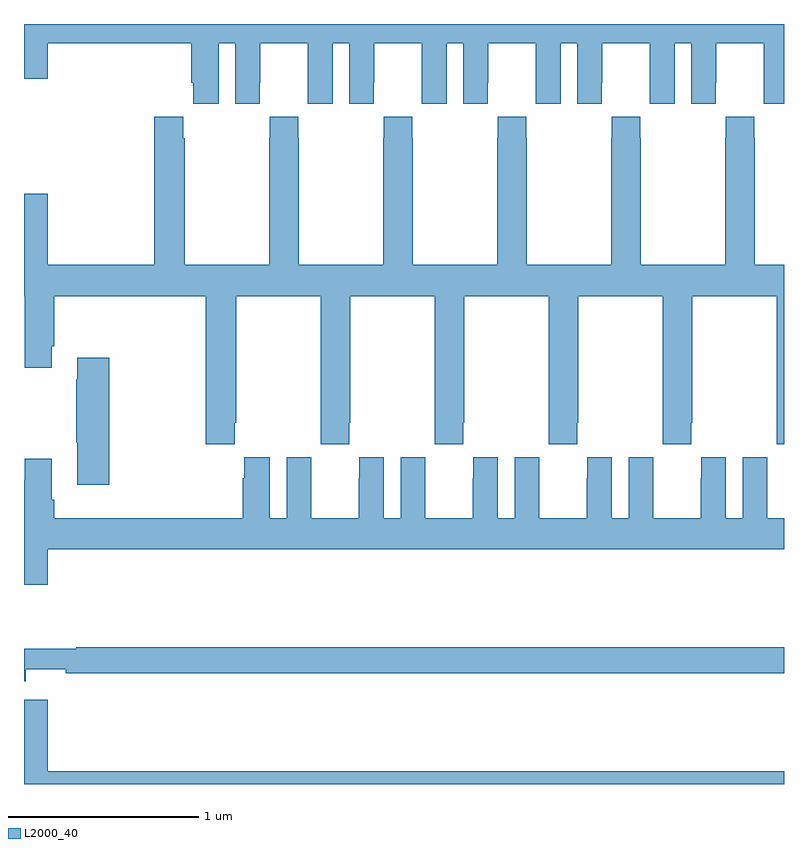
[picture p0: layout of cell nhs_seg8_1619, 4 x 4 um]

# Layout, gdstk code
import gdstk
lib = gdstk.Library(unit=1e-6, precision=1e-09)
def P(c, l, *ps):  # polygons
    for p in ps: c.add(gdstk.Polygon(p, *l))
L2000_40 = (2000, 40)

nhs_seg8_1619 = lib.new_cell('nhs_seg8_1619')
P(nhs_seg8_1619, L2000_40, [(214.024,1149.8),(214.112,1149.8),(214.112,1149.48),(214.242,1149.48),(214.242,1149.592),(214.243,1149.592),(214.243,1149.8),(214.493,1149.8),(214.493,1149.592),(214.494,1149.592),(214.494,1149.48),(214.624,1149.48),(214.624,1149.8),(214.712,1149.8),(214.712,1149.48),(214.842,1149.48),(214.842,1149.592),(214.843,1149.592),(214.843,1149.8),(215.093,1149.8),(215.093,1149.592),(215.094,1149.592),(215.094,1149.48),(215.224,1149.48),(215.224,1149.8),(215.312,1149.8),(215.312,1149.48),(215.442,1149.48),(215.442,1149.592),(215.443,1149.592),(215.443,1149.8),(215.693,1149.8),(215.693,1149.592),(215.694,1149.592),(215.694,1149.48),(215.824,1149.48),(215.824,1149.8),(215.912,1149.8),(215.912,1149.48),(216.042,1149.48),(216.042,1149.592),(216.043,1149.592),(216.043,1149.8),(216.293,1149.8),(216.293,1149.592),(216.294,1149.592),(216.294,1149.48),(216.424,1149.48),(216.424,1149.8),(216.512,1149.8),(216.512,1149.48),(216.642,1149.48),(216.642,1149.592),(216.643,1149.592),(216.643,1149.8),(216.893,1149.8),(216.893,1149.592),(216.894,1149.592),(216.894,1149.48),(217,1149.48),(217,1149.9),(213,1149.9),(213,1149.612),(213.124,1149.612),(213.124,1149.8),(213.881,1149.8),(213.881,1149.592),(213.89,1149.592),(213.89,1149.48),(214.024,1149.48)],
  [(214.109,1147.801),(214.116,1147.801),(214.116,1148.468),(214.561,1148.468),(214.561,1147.801),(214.563,1147.801),(214.563,1147.689),(214.713,1147.689),(214.713,1147.801),(214.716,1147.801),(214.716,1148.468),(215.161,1148.468),(215.161,1147.801),(215.163,1147.801),(215.163,1147.689),(215.313,1147.689),(215.313,1147.801),(215.316,1147.801),(215.316,1148.468),(215.761,1148.468),(215.761,1147.801),(215.763,1147.801),(215.763,1147.689),(215.913,1147.689),(215.913,1147.801),(215.916,1147.801),(215.916,1148.468),(216.361,1148.468),(216.361,1147.801),(216.363,1147.801),(216.363,1147.689),(216.513,1147.689),(216.513,1147.801),(216.516,1147.801),(216.516,1148.468),(216.961,1148.468),(216.961,1147.801),(216.963,1147.801),(216.963,1147.689),(217,1147.689),(217,1148.632),(216.846,1148.632),(216.846,1149.299),(216.843,1149.299),(216.843,1149.412),(216.693,1149.412),(216.693,1149.299),(216.691,1149.299),(216.691,1148.632),(216.246,1148.632),(216.246,1149.299),(216.243,1149.299),(216.243,1149.412),(216.093,1149.412),(216.093,1149.299),(216.091,1149.299),(216.091,1148.632),(215.646,1148.632),(215.646,1149.299),(215.643,1149.299),(215.643,1149.412),(215.493,1149.412),(215.493,1149.299),(215.491,1149.299),(215.491,1148.632),(215.046,1148.632),(215.046,1149.299),(215.043,1149.299),(215.043,1149.412),(214.893,1149.412),(214.893,1149.299),(214.891,1149.299),(214.891,1148.632),(214.446,1148.632),(214.446,1149.299),(214.443,1149.299),(214.443,1149.412),(214.293,1149.412),(214.293,1149.299),(214.291,1149.299),(214.291,1148.632),(213.846,1148.632),(213.846,1149.299),(213.839,1149.299),(213.839,1149.412),(213.686,1149.412),(213.686,1148.632),(213.124,1148.632),(213.124,1149.007),(213,1149.007),(213,1148.468),(213.005,1148.468),(213.005,1148.091),(213.145,1148.091),(213.145,1148.203),(213.158,1148.203),(213.158,1148.468),(213.956,1148.468),(213.956,1147.689),(214.109,1147.689)],
  [(213.449,1148.143),(213.281,1148.143),(213.281,1148.03),(213.274,1148.03),(213.274,1147.699),(213.281,1147.699),(213.281,1147.476),(213.449,1147.476)],
  [(217,1147.3),(216.913,1147.3),(216.913,1147.508),(216.912,1147.508),(216.912,1147.621),(216.782,1147.621),(216.782,1147.3),(216.694,1147.3),(216.694,1147.621),(216.564,1147.621),(216.564,1147.508),(216.563,1147.508),(216.563,1147.3),(216.313,1147.3),(216.313,1147.508),(216.312,1147.508),(216.312,1147.621),(216.182,1147.621),(216.182,1147.3),(216.094,1147.3),(216.094,1147.621),(215.964,1147.621),(215.964,1147.508),(215.963,1147.508),(215.963,1147.3),(215.713,1147.3),(215.713,1147.508),(215.712,1147.508),(215.712,1147.621),(215.582,1147.621),(215.582,1147.3),(215.494,1147.3),(215.494,1147.621),(215.364,1147.621),(215.364,1147.508),(215.363,1147.508),(215.363,1147.3),(215.113,1147.3),(215.113,1147.508),(215.112,1147.508),(215.112,1147.621),(214.982,1147.621),(214.982,1147.3),(214.894,1147.3),(214.894,1147.621),(214.764,1147.621),(214.764,1147.508),(214.763,1147.508),(214.763,1147.3),(214.513,1147.3),(214.513,1147.508),(214.512,1147.508),(214.512,1147.621),(214.382,1147.621),(214.382,1147.3),(214.294,1147.3),(214.294,1147.621),(214.16,1147.621),(214.16,1147.508),(214.151,1147.508),(214.151,1147.3),(213.158,1147.3),(213.158,1147.396),(213.145,1147.396),(213.145,1147.612),(213.005,1147.612),(213.005,1147.499),(213,1147.499),(213,1146.948),(213.124,1146.948),(213.124,1147.136),(217,1147.136)],
  [(213.01,1146.503),(213.22,1146.503),(213.22,1146.484),(217,1146.484),(217,1146.62),(213.275,1146.62),(213.275,1146.613),(213,1146.613),(213,1146.442),(213.01,1146.442)],
  [(217,1145.968),(213.124,1145.968),(213.124,1146.343),(213,1146.343),(213,1145.9),(217,1145.9)])

lib.write_gds('nhs_seg8_1619.gds')
